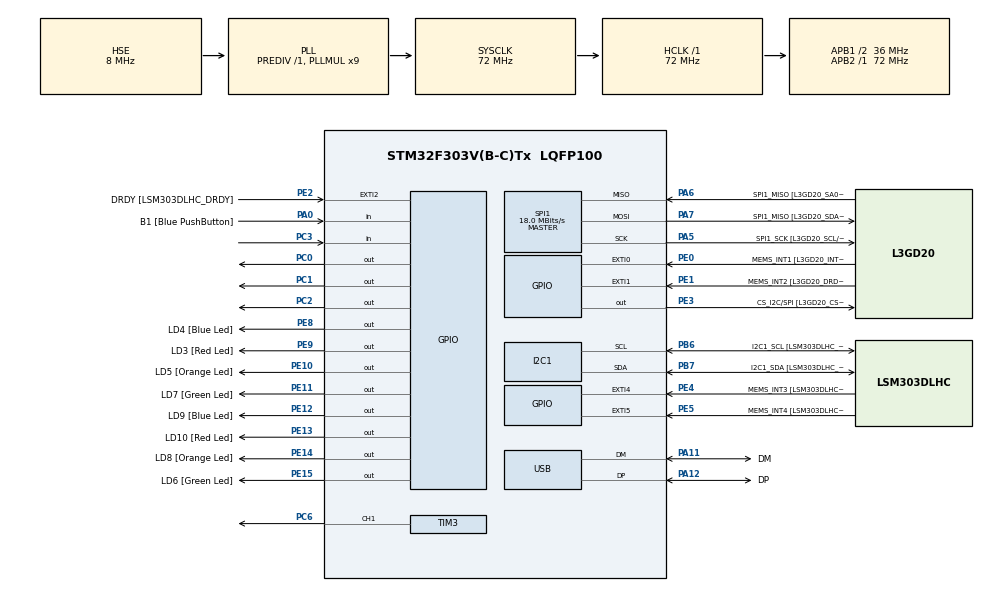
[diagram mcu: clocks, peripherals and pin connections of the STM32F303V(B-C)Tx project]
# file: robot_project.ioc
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I2C1.Timing=0x00201D2B
I2C1.Timing-I2C=0x2000090E
Mcu.Family=STM32F3
Mcu.Name=STM32F303V(B-C)Tx
Mcu.Package=LQFP100
NVIC.PriorityGroup=NVIC_PRIORITYGROUP_0
PA0.GPIO_Label=B1 [Blue PushButton]
PA0.Signal=GPIO_Input
PA11.GPIO_Label=DM
PA11.Mode=Device
PA11.Signal=USB_DM
PA12.GPIO_Label=DP
PA12.Mode=Device
PA12.Signal=USB_DP
PA13.GPIO_Label=SWDIO
PA13.Mode=Serial_Wire
PA13.Signal=SYS_JTMS-SWDIO
PA14.GPIO_Label=SWCLK
PA14.Mode=Serial_Wire
PA14.Signal=SYS_JTCK-SWCLK
PA5.GPIO_Label=SPI1_SCK [L3GD20_SCL/SPC]
PA5.Mode=Full_Duplex_Master
PA5.Signal=SPI1_SCK
PA6.GPIO_Label=SPI1_MISO [L3GD20_SA0/SDO]
PA6.Mode=Full_Duplex_Master
PA6.Signal=SPI1_MISO
PA7.GPIO_Label=SPI1_MISO [L3GD20_SDA/SDI/SDO]
PA7.Mode=Full_Duplex_Master
PA7.Signal=SPI1_MOSI
PB3.GPIO_Label=SWO
PB3.Signal=SYS_JTDO-TRACESWO
PB6.GPIO_Label=I2C1_SCL [LSM303DLHC_SCL]
PB6.GPIO_Pu=GPIO_PULLUP
PB6.Mode=I2C
PB6.Signal=I2C1_SCL
PB7.GPIO_Label=I2C1_SDA [LSM303DLHC_SDA]
PB7.GPIO_Pu=GPIO_PULLUP
PB7.Mode=I2C
PB7.Signal=I2C1_SDA
PC0.Signal=GPIO_Output
PC1.Signal=GPIO_Output
PC14-OSC32_IN.GPIO_Label=OSC32_IN
PC14-OSC32_IN.Signal=RCC_OSC32_IN
PC15-OSC32_OUT.GPIO_Label=OSC32_OUT
PC15-OSC32_OUT.Signal=RCC_OSC32_OUT
PC2.Signal=GPIO_Output
PC3.Signal=GPIO_Input
PC6.Signal=S_TIM3_CH1
PE0.GPIO_Label=MEMS_INT1 [L3GD20_INT1]
PE0.GPIO_ModeDefaultEXTI=GPIO_MODE_EVT_RISING
PE0.Signal=GPXTI0
PE1.GPIO_Label=MEMS_INT2 [L3GD20_DRDY/INT2]
PE1.GPIO_ModeDefaultEXTI=GPIO_MODE_EVT_RISING
PE1.Signal=GPXTI1
PE10.GPIO_Label=LD5 [Orange Led]
PE10.Signal=GPIO_Output
PE11.GPIO_Label=LD7 [Green Led]
PE11.Signal=GPIO_Output
PE12.GPIO_Label=LD9 [Blue Led]
PE12.Signal=GPIO_Output
PE13.GPIO_Label=LD10 [Red Led]
PE13.Signal=GPIO_Output
PE14.GPIO_Label=LD8 [Orange Led]
PE14.Signal=GPIO_Output
PE15.GPIO_Label=LD6 [Green Led]
PE15.Signal=GPIO_Output
PE2.GPIO_Label=DRDY [LSM303DLHC_DRDY]
PE2.GPIO_ModeDefaultEXTI=GPIO_MODE_EVT_RISING
PE2.Signal=GPXTI2
PE3.GPIO_Label=CS_I2C/SPI [L3GD20_CS_I2C/SPI]
PE3.Signal=GPIO_Output
PE4.GPIO_Label=MEMS_INT3 [LSM303DLHC_INT1]
PE4.GPIO_ModeDefaultEXTI=GPIO_MODE_EVT_RISING
PE4.Signal=GPXTI4
PE5.GPIO_Label=MEMS_INT4 [LSM303DLHC_INT2]
PE5.GPIO_ModeDefaultEXTI=GPIO_MODE_EVT_RISING
PE5.Signal=GPXTI5
PE8.GPIO_Label=LD4 [Blue Led]
PE8.Signal=GPIO_Output
PE9.GPIO_Label=LD3 [Red Led]
PE9.Signal=GPIO_Output
PF0-OSC_IN.GPIO_Label=OSC_IN
PF0-OSC_IN.Mode=HSE-External-Clock-Source
PF0-OSC_IN.Signal=RCC_OSC_IN
PF1-OSC_OUT.GPIO_Label=OSC_OUT
PF1-OSC_OUT.Signal=RCC_OSC_OUT
ProjectManager.HeapSize=0x200
ProjectManager.StackSize=0x400
ProjectManager.TargetToolchain=STM32CubeIDE
RCC.AHBFreq_Value=72000000
RCC.APB1CLKDivider=RCC_HCLK_DIV2
RCC.APB1Freq_Value=36000000
RCC.APB1TimFreq_Value=72000000
RCC.APB2Freq_Value=72000000
RCC.APB2TimFreq_Value=72000000
RCC.CortexFreq_Value=72000000
RCC.HCLKFreq_Value=72000000
RCC.HSI_VALUE=8000000
RCC.LSE_VALUE=32768
RCC.PLLMUL=RCC_PLL_MUL9
RCC.PRESCALERUSB=RCC_USBCLKSOURCE_PLL_DIV1_5
RCC.SYSCLKFreq_VALUE=72000000
RCC.SYSCLKSourceVirtual=RCC_SYSCLKSOURCE_PLLCLK
RCC.USBFreq_Value=48000000
SH.S_TIM3_CH1.0=TIM3_CH1,PWM Generation1 CH1
SPI1.BaudRatePrescaler=SPI_BAUDRATEPRESCALER_4
SPI1.BaudRatePrescaler-Full_Duplex_Master=SPI_BAUDRATEPRESCALER_2
SPI1.CalculateBaudRate=18.0 MBits/s
SPI1.CalculateBaudRate-Full_Duplex_Master=24.0 MBits/s
SPI1.Direction=SPI_DIRECTION_2LINES
SPI1.Mode=SPI_MODE_MASTER
SPI1.Mode-Full_Duplex_Master=SPI_MODE_MASTER
SPI1.VirtualType=VM_MASTER
TIM1.Prescaler=71
TIM3.Channel-PWM\ Generation1\ CH1=TIM_CHANNEL_1
TIM3.Period=20000-1
TIM3.Prescaler=71
TIM3.Pulse-PWM\ Generation1\ CH1=1500
VP_TIM1_VS_ClockSourceINT.Mode=Internal
board=STM32F3DISCOVERY

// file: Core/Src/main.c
/* USER CODE BEGIN Header */
/**
  ******************************************************************************
  * @file           : main.c
  * @brief          : Main program body
  ******************************************************************************
  * @attention
  *
  * Copyright (c) 2025 STMicroelectronics.
  * All rights reserved.
  *
  * This software is licensed under terms that can be found in the LICENSE file
  * in the root directory of this software component.
  * If no LICENSE file comes with this software, it is provided AS-IS.
  *
  ******************************************************************************
  */
/* USER CODE END Header */
#include "main.h"

I2C_HandleTypeDef hi2c1;

SPI_HandleTypeDef hspi1;

TIM_HandleTypeDef htim1;
TIM_HandleTypeDef htim3;

PCD_HandleTypeDef hpcd_USB_FS;

void SystemClock_Config(void);
static void MX_GPIO_Init(void);
static void MX_I2C1_Init(void);
static void MX_SPI1_Init(void);
static void MX_USB_PCD_Init(void);
static void MX_TIM3_Init(void);
static void MX_TIM1_Init(void);

/* USER CODE BEGIN 0 */
#define TRIG_PIN GPIO_PIN_2
#define TRIG_PORT GPIOC
#define ECHO_PIN GPIO_PIN_3
#define ECHO_PORT GPIOC
/* USER CODE END 0 */

int main(void)
{

  /* MCU Configuration--------------------------------------------------------*/

  /* Reset of all peripherals, Initializes the Flash interface and the Systick. */
  HAL_Init();

  /* Configure the system clock */
  SystemClock_Config();

  /* Initialize all configured peripherals */
  MX_GPIO_Init();
  MX_I2C1_Init();
  MX_SPI1_Init();
  MX_USB_PCD_Init();
  MX_TIM3_Init();
  MX_TIM1_Init();
  /* USER CODE BEGIN 2 */
  HAL_TIM_PWM_Start(&htim3, TIM_CHANNEL_1);
  /* USER CODE END 2 */

  /* Infinite loop */
  /* USER CODE BEGIN WHILE */
  while (1)
  {
	  	  int distance = HCSR04_GetDistance();
	  	  printf("distance: ", distance);
	  	  Set_Servo_Angle(distance);
    /* USER CODE END WHILE */

  }
}

void SystemClock_Config(void)
{
  RCC_OscInitTypeDef RCC_OscInitStruct = {0};
  RCC_ClkInitTypeDef RCC_ClkInitStruct = {0};
  RCC_PeriphCLKInitTypeDef PeriphClkInit = {0};

  /** Initializes the RCC Oscillators according to the specified parameters
  * in the RCC_OscInitTypeDef structure.
  */
  RCC_OscInitStruct.OscillatorType = RCC_OSCILLATORTYPE_HSI|RCC_OSCILLATORTYPE_HSE;
  RCC_OscInitStruct.HSEState = RCC_HSE_BYPASS;
  RCC_OscInitStruct.HSEPredivValue = RCC_HSE_PREDIV_DIV1;
  RCC_OscInitStruct.HSIState = RCC_HSI_ON;
  RCC_OscInitStruct.HSICalibrationValue = RCC_HSICALIBRATION_DEFAULT;
  RCC_OscInitStruct.PLL.PLLState = RCC_PLL_ON;
  RCC_OscInitStruct.PLL.PLLSource = RCC_PLLSOURCE_HSE;
  RCC_OscInitStruct.PLL.PLLMUL = RCC_PLL_MUL9;
  if (HAL_RCC_OscConfig(&RCC_OscInitStruct) != HAL_OK)
  {
    Error_Handler();
  }

  /** Initializes the CPU, AHB and APB buses clocks
  */
  RCC_ClkInitStruct.ClockType = RCC_CLOCKTYPE_HCLK|RCC_CLOCKTYPE_SYSCLK
                              |RCC_CLOCKTYPE_PCLK1|RCC_CLOCKTYPE_PCLK2;
  RCC_ClkInitStruct.SYSCLKSource = RCC_SYSCLKSOURCE_PLLCLK;
  RCC_ClkInitStruct.AHBCLKDivider = RCC_SYSCLK_DIV1;
  RCC_ClkInitStruct.APB1CLKDivider = RCC_HCLK_DIV2;
  RCC_ClkInitStruct.APB2CLKDivider = RCC_HCLK_DIV1;

  if (HAL_RCC_ClockConfig(&RCC_ClkInitStruct, FLASH_LATENCY_2) != HAL_OK)
  {
    Error_Handler();
  }
  PeriphClkInit.PeriphClockSelection = RCC_PERIPHCLK_USB|RCC_PERIPHCLK_I2C1
                              |RCC_PERIPHCLK_TIM1;
  PeriphClkInit.I2c1ClockSelection = RCC_I2C1CLKSOURCE_HSI;
  PeriphClkInit.USBClockSelection = RCC_USBCLKSOURCE_PLL_DIV1_5;
  PeriphClkInit.Tim1ClockSelection = RCC_TIM1CLK_HCLK;
  if (HAL_RCCEx_PeriphCLKConfig(&PeriphClkInit) != HAL_OK)
  {
    Error_Handler();
  }
}

static void MX_I2C1_Init(void)
{

  hi2c1.Instance = I2C1;
  hi2c1.Init.Timing = 0x00201D2B;
  hi2c1.Init.OwnAddress1 = 0;
  hi2c1.Init.AddressingMode = I2C_ADDRESSINGMODE_7BIT;
  hi2c1.Init.DualAddressMode = I2C_DUALADDRESS_DISABLE;
  hi2c1.Init.OwnAddress2 = 0;
  hi2c1.Init.OwnAddress2Masks = I2C_OA2_NOMASK;
  hi2c1.Init.GeneralCallMode = I2C_GENERALCALL_DISABLE;
  hi2c1.Init.NoStretchMode = I2C_NOSTRETCH_DISABLE;
  if (HAL_I2C_Init(&hi2c1) != HAL_OK)
  {
    Error_Handler();
  }

  /** Configure Analogue filter
  */
  if (HAL_I2CEx_ConfigAnalogFilter(&hi2c1, I2C_ANALOGFILTER_ENABLE) != HAL_OK)
  {
    Error_Handler();
  }

  /** Configure Digital filter
  */
  if (HAL_I2CEx_ConfigDigitalFilter(&hi2c1, 0) != HAL_OK)
  {
    Error_Handler();
  }

}

static void MX_SPI1_Init(void)
{

  /* SPI1 parameter configuration*/
  hspi1.Instance = SPI1;
  hspi1.Init.Mode = SPI_MODE_MASTER;
  hspi1.Init.Direction = SPI_DIRECTION_2LINES;
  hspi1.Init.DataSize = SPI_DATASIZE_4BIT;
  hspi1.Init.CLKPolarity = SPI_POLARITY_LOW;
  hspi1.Init.CLKPhase = SPI_PHASE_1EDGE;
  hspi1.Init.NSS = SPI_NSS_SOFT;
  hspi1.Init.BaudRatePrescaler = SPI_BAUDRATEPRESCALER_4;
  hspi1.Init.FirstBit = SPI_FIRSTBIT_MSB;
  hspi1.Init.TIMode = SPI_TIMODE_DISABLE;
  hspi1.Init.CRCCalculation = SPI_CRCCALCULATION_DISABLE;
  hspi1.Init.CRCPolynomial = 7;
  hspi1.Init.CRCLength = SPI_CRC_LENGTH_DATASIZE;
  hspi1.Init.NSSPMode = SPI_NSS_PULSE_ENABLE;
  if (HAL_SPI_Init(&hspi1) != HAL_OK)
  {
    Error_Handler();
  }

}

static void MX_TIM1_Init(void)
{

  TIM_ClockConfigTypeDef sClockSourceConfig = {0};
  TIM_MasterConfigTypeDef sMasterConfig = {0};

  htim1.Instance = TIM1;
  htim1.Init.Prescaler = 71;
  htim1.Init.CounterMode = TIM_COUNTERMODE_UP;
  htim1.Init.Period = 65535;
  htim1.Init.ClockDivision = TIM_CLOCKDIVISION_DIV1;
  htim1.Init.RepetitionCounter = 0;
  htim1.Init.AutoReloadPreload = TIM_AUTORELOAD_PRELOAD_DISABLE;
  if (HAL_TIM_Base_Init(&htim1) != HAL_OK)
  {
    Error_Handler();
  }
  sClockSourceConfig.ClockSource = TIM_CLOCKSOURCE_INTERNAL;
  if (HAL_TIM_ConfigClockSource(&htim1, &sClockSourceConfig) != HAL_OK)
  {
    Error_Handler();
  }
  sMasterConfig.MasterOutputTrigger = TIM_TRGO_RESET;
  sMasterConfig.MasterOutputTrigger2 = TIM_TRGO2_RESET;
  sMasterConfig.MasterSlaveMode = TIM_MASTERSLAVEMODE_DISABLE;
  if (HAL_TIMEx_MasterConfigSynchronization(&htim1, &sMasterConfig) != HAL_OK)
  {
    Error_Handler();
  }

}

static void MX_TIM3_Init(void)
{

  TIM_MasterConfigTypeDef sMasterConfig = {0};
  TIM_OC_InitTypeDef sConfigOC = {0};

  htim3.Instance = TIM3;
  htim3.Init.Prescaler = 71;
  htim3.Init.CounterMode = TIM_COUNTERMODE_UP;
  htim3.Init.Period = 20000-1;
  htim3.Init.ClockDivision = TIM_CLOCKDIVISION_DIV1;
  htim3.Init.AutoReloadPreload = TIM_AUTORELOAD_PRELOAD_DISABLE;
  if (HAL_TIM_PWM_Init(&htim3) != HAL_OK)
  {
    Error_Handler();
  }
  sMasterConfig.MasterOutputTrigger = TIM_TRGO_RESET;
  sMasterConfig.MasterSlaveMode = TIM_MASTERSLAVEMODE_DISABLE;
  if (HAL_TIMEx_MasterConfigSynchronization(&htim3, &sMasterConfig) != HAL_OK)
  {
    Error_Handler();
  }
  sConfigOC.OCMode = TIM_OCMODE_PWM1;
  sConfigOC.Pulse = 1500;
  sConfigOC.OCPolarity = TIM_OCPOLARITY_HIGH;
  sConfigOC.OCFastMode = TIM_OCFAST_DISABLE;
  if (HAL_TIM_PWM_ConfigChannel(&htim3, &sConfigOC, TIM_CHANNEL_1) != HAL_OK)
  {
    Error_Handler();
  }
  HAL_TIM_MspPostInit(&htim3);

}

static void MX_USB_PCD_Init(void)
{

  hpcd_USB_FS.Instance = USB;
  hpcd_USB_FS.Init.dev_endpoints = 8;
  hpcd_USB_FS.Init.speed = PCD_SPEED_FULL;
  hpcd_USB_FS.Init.phy_itface = PCD_PHY_EMBEDDED;
  hpcd_USB_FS.Init.low_power_enable = DISABLE;
  hpcd_USB_FS.Init.battery_charging_enable = DISABLE;
  if (HAL_PCD_Init(&hpcd_USB_FS) != HAL_OK)
  {
    Error_Handler();
  }

}

static void MX_GPIO_Init(void)
{
  GPIO_InitTypeDef GPIO_InitStruct = {0};

  /* GPIO Ports Clock Enable */
  __HAL_RCC_GPIOE_CLK_ENABLE();
  __HAL_RCC_GPIOC_CLK_ENABLE();
  __HAL_RCC_GPIOF_CLK_ENABLE();
  __HAL_RCC_GPIOA_CLK_ENABLE();
  __HAL_RCC_GPIOB_CLK_ENABLE();

  /*Configure GPIO pin Output Level */
  HAL_GPIO_WritePin(GPIOE, CS_I2C_SPI_Pin|LD4_Pin|LD3_Pin|LD5_Pin
                          |LD7_Pin|LD9_Pin|LD10_Pin|LD8_Pin
                          |LD6_Pin, GPIO_PIN_RESET);

  /*Configure GPIO pin Output Level */
  HAL_GPIO_WritePin(GPIOC, GPIO_PIN_0|GPIO_PIN_1|GPIO_PIN_2, GPIO_PIN_RESET);

  /*Configure GPIO pins : DRDY_Pin MEMS_INT3_Pin MEMS_INT4_Pin MEMS_INT1_Pin
                           MEMS_INT2_Pin */
  GPIO_InitStruct.Pin = DRDY_Pin|MEMS_INT3_Pin|MEMS_INT4_Pin|MEMS_INT1_Pin
                          |MEMS_INT2_Pin;
  GPIO_InitStruct.Mode = GPIO_MODE_EVT_RISING;
  GPIO_InitStruct.Pull = GPIO_NOPULL;
  HAL_GPIO_Init(GPIOE, &GPIO_InitStruct);

  /*Configure GPIO pins : CS_I2C_SPI_Pin LD4_Pin LD3_Pin LD5_Pin
                           LD7_Pin LD9_Pin LD10_Pin LD8_Pin
                           LD6_Pin */
  GPIO_InitStruct.Pin = CS_I2C_SPI_Pin|LD4_Pin|LD3_Pin|LD5_Pin
                          |LD7_Pin|LD9_Pin|LD10_Pin|LD8_Pin
                          |LD6_Pin;
  GPIO_InitStruct.Mode = GPIO_MODE_OUTPUT_PP;
  GPIO_InitStruct.Pull = GPIO_NOPULL;
  GPIO_InitStruct.Speed = GPIO_SPEED_FREQ_LOW;
  HAL_GPIO_Init(GPIOE, &GPIO_InitStruct);

  /*Configure GPIO pins : PC0 PC1 PC2 */
  GPIO_InitStruct.Pin = GPIO_PIN_0|GPIO_PIN_1|GPIO_PIN_2;
  GPIO_InitStruct.Mode = GPIO_MODE_OUTPUT_PP;
  GPIO_InitStruct.Pull = GPIO_NOPULL;
  GPIO_InitStruct.Speed = GPIO_SPEED_FREQ_LOW;
  HAL_GPIO_Init(GPIOC, &GPIO_InitStruct);

  /*Configure GPIO pin : PC3 */
  GPIO_InitStruct.Pin = GPIO_PIN_3;
  GPIO_InitStruct.Mode = GPIO_MODE_INPUT;
  GPIO_InitStruct.Pull = GPIO_NOPULL;
  HAL_GPIO_Init(GPIOC, &GPIO_InitStruct);

  /*Configure GPIO pin : B1_Pin */
  GPIO_InitStruct.Pin = B1_Pin;
  GPIO_InitStruct.Mode = GPIO_MODE_INPUT;
  GPIO_InitStruct.Pull = GPIO_NOPULL;
  HAL_GPIO_Init(B1_GPIO_Port, &GPIO_InitStruct);

}

/* USER CODE BEGIN 4 */
void Set_Servo_Angle(uint8_t angle) {
    // angle: 0 to 180
    uint32_t pulse = (angle * (2000 - 1000) / 180) + 1000;  // 1ms ~ 2ms
    __HAL_TIM_SET_COMPARE(&htim3, TIM_CHANNEL_1, pulse);
}

void delay_us(uint16_t us) {
    __HAL_TIM_SET_COUNTER(&htim1, 0);  // 타이머 초기화
    HAL_TIM_Base_Start(&htim1);
    int timercount;
    timercount = __HAL_TIM_GET_COUNTER(&htim1);
    while (__HAL_TIM_GET_COUNTER(&htim1) < us);  // 원하는 시간만큼 대기
}

void HCSR04_Init() {
    HAL_GPIO_WritePin(TRIG_PORT, TRIG_PIN, GPIO_PIN_RESET);
    HAL_Delay(20);  // 안정화
}

int HCSR04_GetDistance() {
    uint32_t start_time, end_time;
    float distance;

    // 트리거 핀에 펄스 신호 전달
    HAL_GPIO_WritePin(TRIG_PORT, TRIG_PIN, GPIO_PIN_SET);
    delay_us(20);
    HAL_GPIO_WritePin(TRIG_PORT, TRIG_PIN, GPIO_PIN_RESET);

    // 에코 핀 HIGH 신호 감지 시작
    while (HAL_GPIO_ReadPin(ECHO_PORT, ECHO_PIN) == GPIO_PIN_RESET);
    start_time = __HAL_TIM_GET_COUNTER(&htim1);

    while (HAL_GPIO_ReadPin(ECHO_PORT, ECHO_PIN) == GPIO_PIN_SET);
    end_time = __HAL_TIM_GET_COUNTER(&htim1);

    // HIGH 신호 시간 계산
    uint32_t time_elapsed = end_time - start_time;

    // 거리 계산
    distance = (time_elapsed * 0.034) / 2.0;  // cm 단위로 변환
   int result = distance;
    return result;
}
/* USER CODE END 4 */

void Error_Handler(void)
{
  __disable_irq();
  while (1)
  {
  }
}
